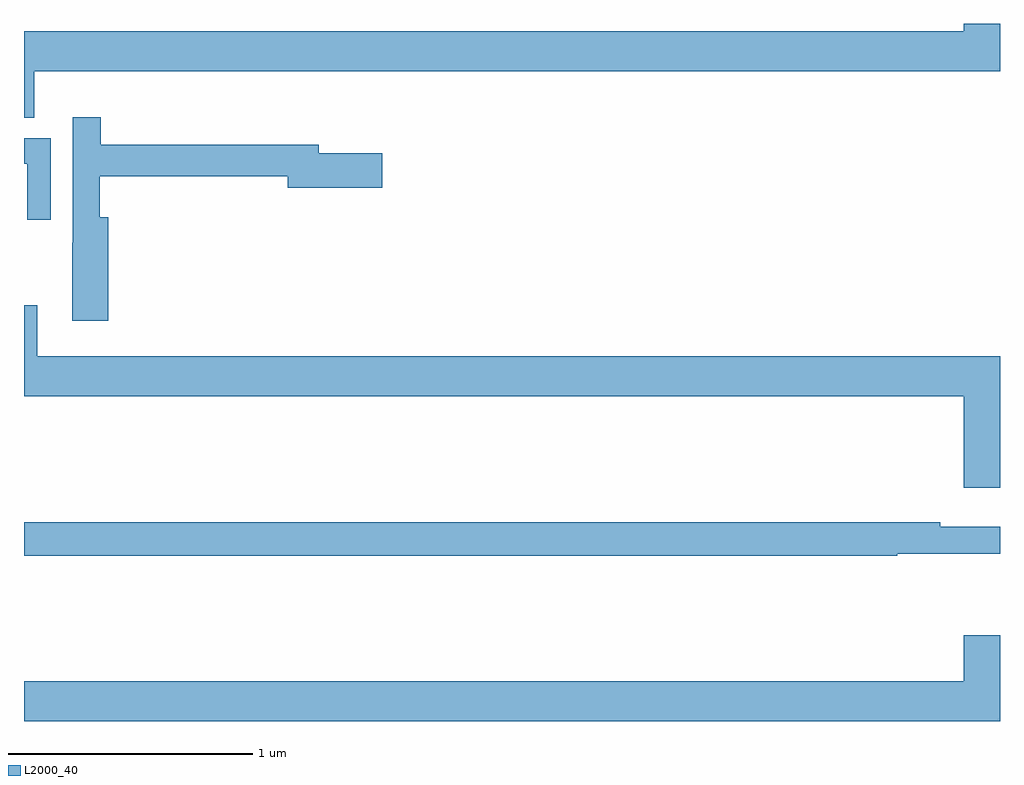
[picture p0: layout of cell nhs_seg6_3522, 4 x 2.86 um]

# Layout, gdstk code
import gdstk
lib = gdstk.Library(unit=1e-6, precision=1e-09)
def P(c, l, *ps):  # polygons
    for p in ps: c.add(gdstk.Polygon(p, *l))
L2000_40 = (2000, 40)

nhs_seg6_3522 = lib.new_cell('nhs_seg6_3522')
P(nhs_seg6_3522, L2000_40, [(317.041,979.304),(321,979.304),(321,979.5),(320.852,979.5),(320.852,979.468),(317,979.468),(317,979.115),(317.041,979.115)],
  [(317.345,978.706),(317.311,978.706),(317.311,978.874),(318.08,978.874),(318.08,978.827),(318.469,978.827),(318.469,978.969),(318.208,978.969),(318.208,979.003),(317.315,979.003),(317.315,979.117),(317.199,979.117),(317.199,978.602),(317.198,978.602),(317.198,978.282),(317.345,978.282)],
  [(317.109,979.03),(317,979.03),(317,978.926),(317.013,978.926),(317.013,978.696),(317.109,978.696)],
  [(321,978.136),(317.054,978.136),(317.054,978.345),(317,978.345),(317,977.972),(320.852,977.972),(320.852,977.598),(321,977.598)],
  [(320.578,977.328),(321,977.328),(321,977.437),(320.756,977.437),(320.756,977.456),(317,977.456),(317,977.32),(320.578,977.32)],
  [(321,976.993),(320.852,976.993),(320.852,976.804),(317,976.804),(317,976.64),(321,976.64)])

lib.write_gds('nhs_seg6_3522.gds')
